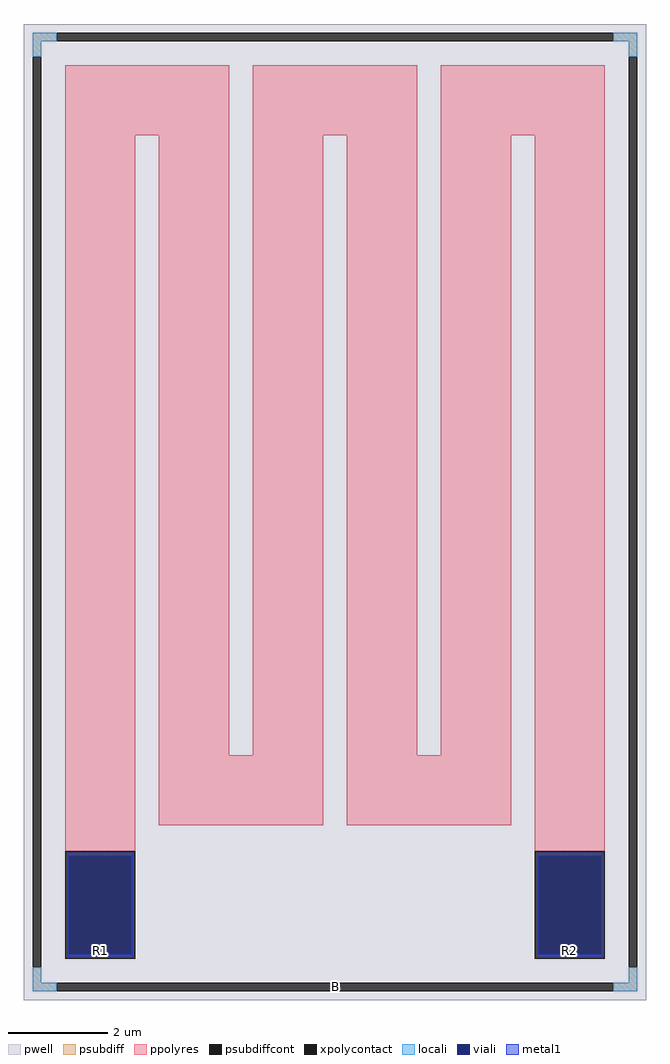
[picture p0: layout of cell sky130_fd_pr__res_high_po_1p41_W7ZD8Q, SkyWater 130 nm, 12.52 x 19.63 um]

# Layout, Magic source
magic
tech sky130A
magscale 1 2
<< pwell >>
rect -1252 -1963 1252 1963
<< psubdiff >>
rect -1216 1893 -1120 1927
rect 1120 1893 1216 1927
rect -1216 1831 -1182 1893
rect 1182 1831 1216 1893
rect -1216 -1893 -1182 -1831
rect 1182 -1893 1216 -1831
rect -1216 -1927 -1120 -1893
rect 1120 -1927 1216 -1893
<< psubdiffcont >>
rect -1120 1893 1120 1927
rect -1216 -1831 -1182 1831
rect 1182 -1831 1216 1831
rect -1120 -1927 1120 -1893
<< xpolycontact >>
rect -1086 -1797 -804 -1365
rect 804 -1797 1086 -1365
<< ppolyres >>
rect -1086 1515 -426 1797
rect -1086 -1365 -804 1515
rect -708 -979 -426 1515
rect -330 1515 330 1797
rect -330 -979 -48 1515
rect -708 -1261 -48 -979
rect 48 -979 330 1515
rect 426 1515 1086 1797
rect 426 -979 708 1515
rect 48 -1261 708 -979
rect 804 -1365 1086 1515
<< locali >>
rect -1216 1893 -1120 1927
rect 1120 1893 1216 1927
rect -1216 1831 -1182 1893
rect 1182 1831 1216 1893
rect -1216 -1893 -1182 -1831
rect 1182 -1893 1216 -1831
rect -1216 -1927 -1120 -1893
rect 1120 -1927 1216 -1893
<< viali >>
rect -1070 -1779 -820 -1382
rect 820 -1779 1070 -1382
<< metal1 >>
rect -1076 -1382 -814 -1370
rect -1076 -1779 -1070 -1382
rect -820 -1779 -814 -1382
rect -1076 -1791 -814 -1779
rect 814 -1382 1076 -1370
rect 814 -1779 820 -1382
rect 1070 -1779 1076 -1382
rect 814 -1791 1076 -1779
<< labels >>
rlabel psubdiffcont 0 -1910 0 -1910 0 B
port 1 nsew
rlabel xpolycontact -945 -1762 -945 -1762 0 R1
port 2 nsew
rlabel xpolycontact 945 -1762 945 -1762 0 R2
port 3 nsew
<< properties >>
string FIXED_BBOX -1199 -1910 1199 1910
string gencell sky130_fd_pr__res_high_po_1p41
string library sky130
string parameters w 1.41 l 15.29 m 1 nx 6 wmin 1.410 lmin 0.50 class resistor rho 319.8 val 22.682k dummy 0 dw 0.0 term 194.82 sterm 0.0 caplen 0 guard 1 glc 1 grc 1 gtc 1 gbc 1 compatible {sky130_fd_pr__res_high_po_0p35  sky130_fd_pr__res_high_po_0p69 sky130_fd_pr__res_high_po_1p41  sky130_fd_pr__res_high_po_2p85 sky130_fd_pr__res_high_po_5p73} snake 1 full_metal 1 wmax 1.410 n_guard 0 hv_guard 0 vias 1 viagb 0 viagt 0 viagl 0 viagr 0 doports 1
<< end >>
